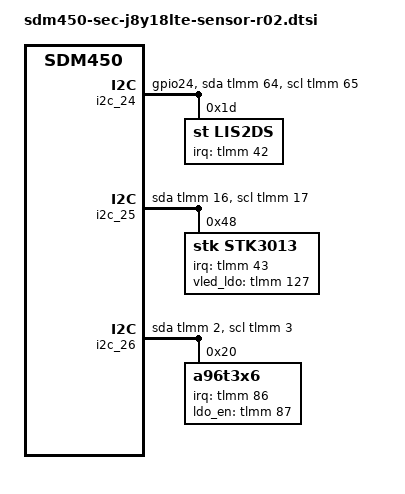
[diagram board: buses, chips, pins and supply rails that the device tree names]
/* Copyright (c) 2017, The Linux Foundation. All rights reserved.
 *
 * This program is free software; you can redistribute it and/or modify
 * it under the terms of the GNU General Public License version 2 and
 * only version 2 as published by the Free Software Foundation.
 *
 * This program is distributed in the hope that it will be useful,
 * but WITHOUT ANY WARRANTY; without even the implied warranty of
 * MERCHANTABILITY or FITNESS FOR A PARTICULAR PURPOSE.  See the
 * GNU General Public License for more details.
 */

&soc {
	tlmm: pinctrl@1000000 {
		acc_int: acc_int {
			mux {
				pins = "gpio42";
				function = "gpio";
			};
			config {
				pins = "gpio42";
				drive-strength = <2>;
				bias-disable;
			};
		};

		sensor_i2c: sensor_i2c {
			mux {
				pins = "gpio64", "gpio65";
				function = "gpio";
			};
			config {
				pins = "gpio64", "gpio65";
				drive-strength = <2>;
				bias-disable;
			};
		};

		sensor_ldo: sensor_ldo {
			mux {
				pins = "gpio24";
				function = "gpio";
			};
			config {
				pins = "gpio24";
				drive-setrength = <2>;
				bias-disable;
				output-high;
			};
		};

		prox_int: prox_int {
			mux {
				pins = "gpio43";
				function = "gpio";
			};
			config {
				pins = "gpio43";
				drive-strength = <2>;
				bias-disable;
			};
		};

		prox_ldo_en: prox_ldo_en {
			mux {
				pins = "gpio127";
				function = "gpio";
			};
			config {
				pins = "gpio127";
				drive-strength = <2>;
				bias-disable;
			};
		};

		prox_i2c: prox_i2c {
			mux {
				pins = "gpio16", "gpio17";
				function = "gpio";
			};
			config {
				pins = "gpio16", "gpio17";
				drive-strength = <2>;
				bias-disable;
			};
		};

		grip_int: grip_int {
			mux {
				pins = "gpio86";
				function = "gpio";
			};
			config {
				pins = "gpio86";
				drive-strength = <2>;
				bias-disable;
			};
		};

		grip_i2c: grip_i2c {
			mux {
				pins = "gpio2", "gpio3";
				function = "gpio";
			};
			config {
				pins = "gpio2", "gpio3";
				drive-strength = <2>;
				bias-disable;
			};
		};
	};

	i2c_24: i2c@24 { /* SW I2C */
		cell-index = <24>;
		compatible = "i2c-gpio";
		gpios = <&tlmm 64 0 /* sda */
			&tlmm 65 0 /* scl */
		>;
		#i2c-gpio,delay-us = <2>;
		#address-cells = <1>;
		#size-cells = <0>;
		pinctrl-names = "default";
		pinctrl-0 = <&sensor_ldo>;

		lis2ds@1d {
			compatible = "st,lis2ds";
			reg = <0x1d>;
			pinctrl-names = "default";
			pinctrl-0 = <&acc_int &sensor_i2c>;
			interrupt-parent = <&tlmm>;
			interrupts = <42 0>;
			st,orientation = <2 1 1 1 0 1 1 1 2>;
			st,drdy-int-pin = <1>;
			st,irq_gpio = <&tlmm 42 0>;
		};
	};

	i2c_25: i2c@25 { /* SW I2C */
		cell-index = <25>;
		compatible = "i2c-gpio";
		gpios = <&tlmm 16 0/* sda */
			&tlmm 17 0/* scl */
		>;
		#i2c-gpio,delay-us = <2>;
		#address-cells = <1>;
		#size-cells = <0>;

		stk3013@48 {
			compatible = "stk,stk3013";
			reg = <0x48>;
			interrupt-parent = <&tlmm>;
			interrupts = <43 0>;
			pinctrl-names = "default";
			pinctrl-0 = <&prox_int &prox_ldo_en &prox_i2c>;
			stk,irq-gpio = <&tlmm 43 0>;
			stk,vled_ldo = <&tlmm 127 0>;
			stk,state-reg = <0x2d>;
			stk,psctrl-reg = <0x71>;
			stk,alsctrl-reg = <0x2A>;
			stk,ledctrl-reg = <0xBF>;
			stk,wait-reg = <0x03>;
			stk,ps-thd-h = <17>;
			stk,ps-thd-l = <10>;
			stk,ps-cancel-thd-h = <13>;
			stk,ps-cancel-thd-l = <10>;
			stk,ps-cal-skip-adc = <6>;
			stk,ps-cal-fail-adc = <20>;
			stk,ps-default-offset = <6>;
			stk,transmittance = <500>;
		};
	};

	i2c_26: i2c@26 { /* SW I2C */
		cell-index = <26>;
		compatible = "i2c-gpio";
		gpios = <&tlmm 2 0/* sda */
			&tlmm 3 0/* scl */
		>;
		#i2c-gpio,delay-us = <2>;
		#address-cells = <1>;
		#size-cells = <0>;

		a96t3x6@20 {
			compatible = "a96t3x6";
			pinctrl-names = "default";
			pinctrl-0 = <&grip_int &grip_i2c>;
			reg = <0x20>;
			interrupt-parent = <&tlmm>;
			interrupts = <86 0>;
			a96t3x6,irq_gpio = <&tlmm 86 0>;
			a96t3x6,ldo_en = <&tlmm 87 0>;
			a96t3x6,fw_path = "abov/a96t326_j8y18lte.fw";
			a96t3x6,chipid = "A96T326";
			a96t3x6,firmup_cmd = <0x32>;
		};
	};
};
